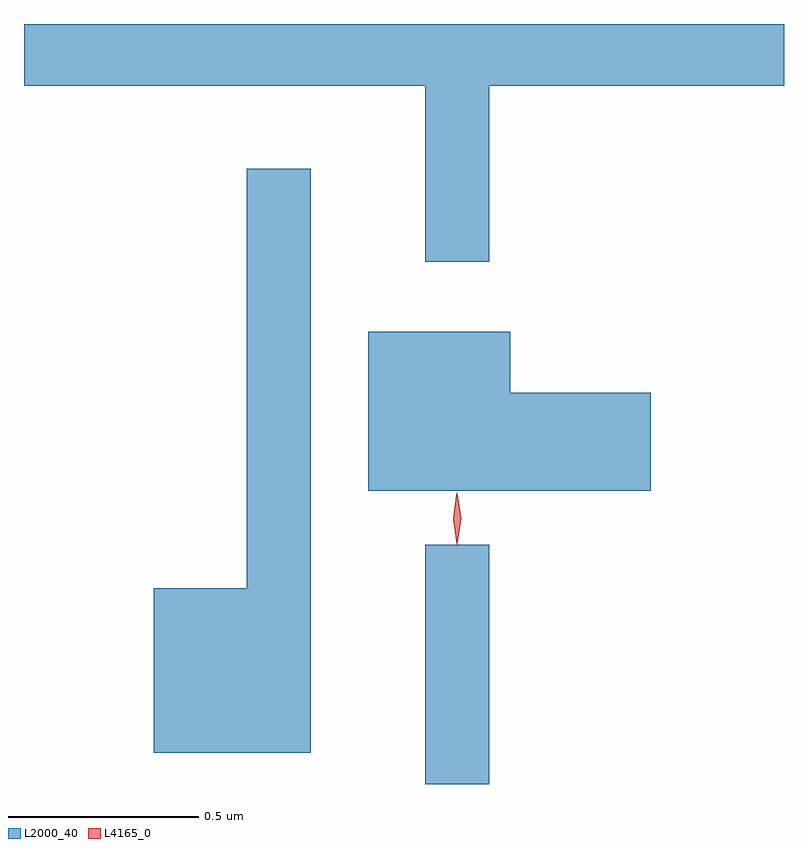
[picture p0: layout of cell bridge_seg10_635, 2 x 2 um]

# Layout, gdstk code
import gdstk
lib = gdstk.Library(unit=1e-6, precision=1e-09)
def R(c, l, rs):  # rectangles x0, y0, x1, y1
    for r in rs: c.add(gdstk.rectangle(r[:2], r[2:], *l))
def P(c, l, *ps):  # polygons
    for p in ps: c.add(gdstk.Polygon(p, *l))
L2000_40 = (2000, 40)
L4165_0 = (4165, 0)

bridge_seg10_635 = lib.new_cell('bridge_seg10_635')
R(bridge_seg10_635, L2000_40, [(752.511,2109.859,752.679,2110.488)])
P(bridge_seg10_635, L2000_40, [(752.679,2111.696),(753.455,2111.696),(753.455,2111.859),(751.455,2111.859),(751.455,2111.696),(752.511,2111.696),(752.511,2111.233),(752.679,2111.233)],
  [(752.209,2111.478),(752.041,2111.478),(752.041,2110.374),(751.796,2110.374),(751.796,2109.941),(752.209,2109.941)],
  [(753.104,2110.889),(752.734,2110.889),(752.734,2111.049),(752.361,2111.049),(752.361,2110.631),(753.104,2110.631)])
P(bridge_seg10_635, L4165_0, [(752.594,2110.49),(752.585,2110.558),(752.594,2110.626),(752.595,2110.626),(752.595,2110.626),(752.605,2110.558),(752.595,2110.49),(752.595,2110.49)],
  [(752.595,2110.493),(752.594,2110.494),(752.584,2110.556),(752.593,2110.619),(752.594,2110.62),(752.594,2110.619),(752.604,2110.556),(752.595,2110.494)])

lib.write_gds('bridge_seg10_635.gds')
